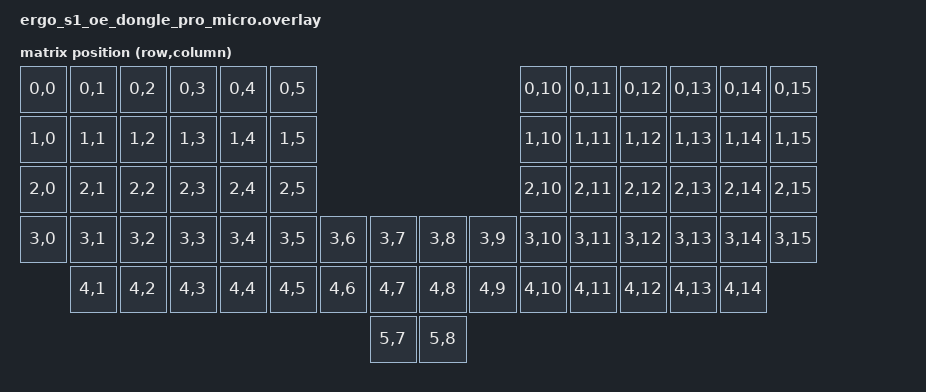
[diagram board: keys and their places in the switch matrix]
/*
 * Copyright (c) 2021 The ZMK Contributors
 *
 * SPDX-License-Identifier: MIT
 */

#include <dt-bindings/zmk/matrix_transform.h>

#include "ergo_layout.dtsi"

/ {
    chosen {
        zephyr,display = &oled;
        zmk,kscan = &mock_kscan;
        zmk,physical-layout = &physical_layout0;
    };

    default_transform: keymap_transform_0 {
        compatible = "zmk,matrix-transform";
        columns = <16>;
        rows = <6>;
// | SW1  | SW2  | SW3  | SW4  | SW5  | SW6  |                               | SW6  | SW5  | SW4  | SW3  | SW2  | SW1  |
// | SW7  | SW8  | SW9  | SW10 | SW11 | SW12 | SW13 |                 | SW13 | SW12 | SW11 | SW10 | SW9  | SW8  | SW7  |
// | SW14 | SW15 | SW16 | SW17 | SW18 | SW19 | SW20 |                 | SW20 | SW19 | SW18 | SW17 | SW16 | SW15 | SW14 |
// | SW21 | SW22 | SW23 | SW24 | SW25 | SW26 | SW27 | SW28 |   | SW28 | SW27 | SW26 | SW25 | SW24 | SW23 | SW22 | SW21 |
// | SW29 | SW30 | SW31 | SW32 |     SW33    | SW34 | SW35 |   | SW35 | SW34 |     SW33    | SW32 | SW31 | SW30 | SW29 |
        map = <
RC(0,0) RC(0,1) RC(0,2) RC(0,3) RC(0,4) RC(0,5)                                                     RC(0,10) RC(0,11) RC(0,12) RC(0,13) RC(0,14) RC(0,15)
RC(1,0) RC(1,1) RC(1,2) RC(1,3) RC(1,4) RC(1,5)                                                     RC(1,10) RC(1,11) RC(1,12) RC(1,13) RC(1,14) RC(1,15)
RC(2,0) RC(2,1) RC(2,2) RC(2,3) RC(2,4) RC(2,5)                                                     RC(2,10) RC(2,11) RC(2,12) RC(2,13) RC(2,14) RC(2,15)
RC(3,0) RC(3,1) RC(3,2) RC(3,3) RC(3,4) RC(3,5)         RC(3,6) RC(3,7)     RC(3,8) RC(3,9)         RC(3,10) RC(3,11) RC(3,12) RC(3,13) RC(3,14) RC(3,15)
        RC(4,1) RC(4,2) RC(4,3) RC(4,4)         RC(4,5) RC(4,6) RC(4,7)     RC(4,8) RC(4,9) RC(4,10)         RC(4,11) RC(4,12) RC(4,13) RC(4,14)
                                                                RC(5,7)     RC(5,8)
        >;
    };

    mock_kscan: kscan0 {
        compatible = "zmk,kscan-mock";
        // wakeup-source;
        columns = <0>;
        rows = <0>;
        events = <0>;
    };

};


&physical_layout0 {
    transform = <&default_transform>;
};

&pro_micro_i2c {
    status = "okay";

    oled: ssd1306@3c {
        compatible = "solomon,ssd1306fb";
        reg = <0x3c>;
        width = <128>;
        height = <32>;
        segment-offset = <0>;
        page-offset = <0>;
        display-offset = <0>;
        multiplex-ratio = <31>;
        segment-remap;
        com-invdir;
        com-sequential;
        inversion-on;
        prechargep = <0x22>;
    };
};
